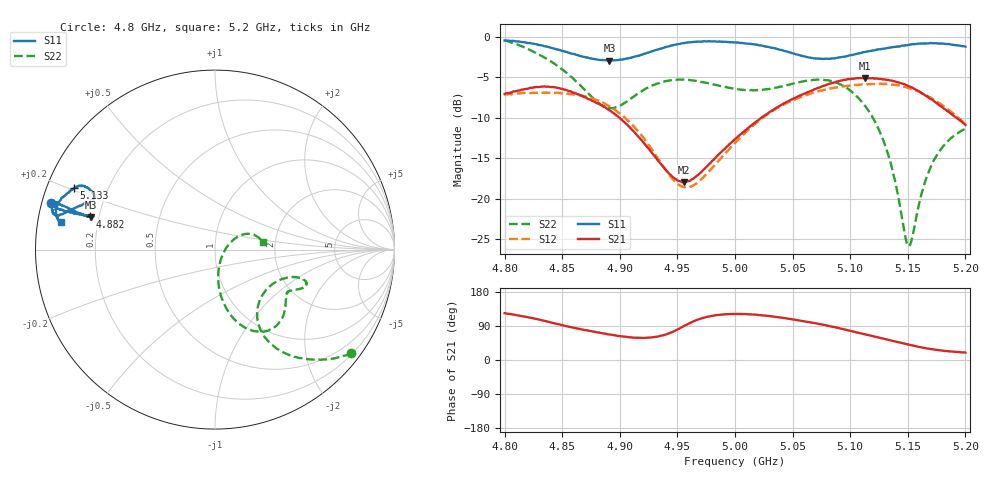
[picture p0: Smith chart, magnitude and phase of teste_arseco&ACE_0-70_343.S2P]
! Network Analyzer HP8722D
! Hewlett-Packard
! Data name: Linha & Wilkinson
! Saver's name: Rodrigo Anjos
! Comments: Teste da utilização de aquisição
! continua pelo VNA HP8722D
! Time and date: 8/5/2025 15:37
!  Frequency  S11  S21  S12  S22
# HZ  S  MA R 50
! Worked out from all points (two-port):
!   401 points, 4.8 GHz to 5.2 GHz, reference 50 ohm
!   highest |S21| = -5.07 dB at 5.113 GHz (marker M1); lowest = -18.0 dB at 4.956 GHz (marker M2)
!   |S21| within 3 dB of the highest: start of sweep to 4.879 GHz; 5.044 GHz to 5.174 GHz (129.4 MHz wide, 2.53 % of centre)
!   lowest |S11| = -2.9 dB at 4.891 GHz (marker M3), VSWR 6.02, Z = 8.43 + j6.29 ohm
!   |S11| at or under -10 dB: nowhere
!   |S22| runs from -25.9 to -0.4 dB; largest |S21 - S12| = 0.72
!   S11 on the Smith chart (normalised r, x): 4.8 GHz: 0.03, +0.14; 4.882 GHz: 0.16, +0.13; 5.133 GHz: 0.08, +0.21; 5.2 GHz: 0.07, +0.09
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4.8e9  0.9516 164.1  0.4442 123.5  0.4395 18.0  0.9517 -37.3
4.833e9  0.8848 165.4  0.4937 104.6  0.4518 7.7  0.7577 -52.6
4.867e9  0.7583 165.3  0.4323 80.6  0.4339 -6.5  0.4923 -60.1
4.882e9  0.7214 165.1  0.3852 72.3  0.4026 -15.2  0.3891 -51.5
4.891e9  0.7153 165.3  0.352 67.4  0.3734 -20.7  0.3636 -40.8
4.91e9  0.7444 165.4  0.2701 59.5  0.2904 -31.2  0.4177 -22.7
4.934e9  0.8396 164.3  0.1694 62.6  0.1739 -32.4  0.5182 -18.7
4.956e9  0.9181 163.4  0.1265 90.0  0.1178 -3.7  0.544 -21.7
4.969e9  0.9366 164.2  0.1423 108.0  0.1285 17.8  0.5314 -24.0
5e9  0.9248 167.3  0.2334 121.3  0.2213 39.3  0.4776 -28.4
5.036e9  0.8462 165.4  0.365 113.7  0.3611 34.2  0.4867 -35.9
5.067e9  0.7416 158.5  0.4676 98.7  0.4509 20.5  0.5416 -48.7
5.09e9  0.7475 155.5  0.5339 84.4  0.4892 7.8  0.5145 -62.6
5.113e9  0.8077 154.1  0.5581 67.6  0.5109 -6.0  0.3741 -76.6
5.133e9  0.8555 156.5  0.5428 53.4  0.511 -18.7  0.1873 -84.1
5.134e9  0.8581 156.6  0.5403 52.6  0.5097 -19.6  0.1772 -84.0
5.148e9  0.889 160.1  0.5064 42.5  0.4908 -28.9  0.0575 -51.0
5.151e9  0.894 160.6  0.4955 40.2  0.4837 -31.2  0.05089 -23.6
5.164e9  0.911 163.9  0.442 32.1  0.4433 -39.0  0.1207 28.7
5.172e9  0.9164 165.6  0.405 27.9  0.4114 -43.2  0.169 28.9
5.185e9  0.9047 168.0  0.346 23.0  0.3562 -48.5  0.2282 21.6
5.2e9  0.8708 170.0  0.2858 19.6  0.2892 -52.8  0.2708 8.6
